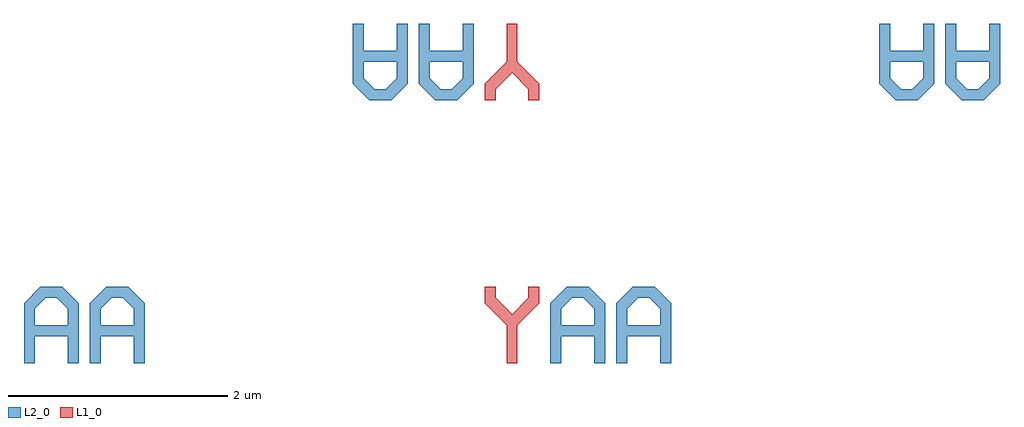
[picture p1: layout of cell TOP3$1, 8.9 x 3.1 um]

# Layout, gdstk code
from math import pi, radians
import gdstk
lib = gdstk.Library(unit=1e-6, precision=1e-09)
def P(c, l, *ps):  # polygons
    for p in ps: c.add(gdstk.Polygon(p, *l))
L1_0 = (1, 0)
L2_0 = (2, 0)

text_6_1 = lib.new_cell('TEXT$6$1')
P(text_6_1, L1_0, [(0.2,0),(0.2,0.35),(0,0.55),(0,0.7),(0.1,0.7),(0.1,0.6),(0.25,0.45),(0.4,0.6),(0.4,0.7),(0.5,0.7),(0.5,0.55),(0.3,0.35),(0.3,0)])

text_8_1 = lib.new_cell('TEXT$8$1')
P(text_8_1, L2_0, [(0,0),(0,0.55),(0.15,0.7),(0.35,0.7),(0.45,0.6),(0.2,0.6),(0.1,0.5),(0.1,0.35),(0.4,0.35),(0.4,0.5),(0.3,0.6),(0.45,0.6),(0.5,0.55),(0.5,0),(0.4,0),(0.4,0.25),(0.1,0.25),(0.1,0)],
  [(0.6,0),(0.6,0.55),(0.75,0.7),(0.95,0.7),(1.05,0.6),(0.8,0.6),(0.7,0.5),(0.7,0.35),(1,0.35),(1,0.5),(0.9,0.6),(1.05,0.6),(1.1,0.55),(1.1,0),(1,0),(1,0.25),(0.7,0.25),(0.7,0)])

c_aa = lib.new_cell('AA')
c_aa.add(gdstk.Reference(text_8_1, (0,0)))

y_1 = lib.new_cell('Y$1')
y_1.add(gdstk.Reference(text_6_1, (0,0)))
y_1.add(gdstk.Reference(c_aa, (4.7,3.1), rotation=pi))
y_1.add(gdstk.Reference(c_aa, (0.6,0)))

top3_1 = lib.new_cell('TOP3$1')
top3_1.add(gdstk.Reference(y_1, (4.2,0)))
top3_1.add(gdstk.Reference(y_1, (4.7,3.1), rotation=pi))

lib.write_gds('TOP3_1.gds')
